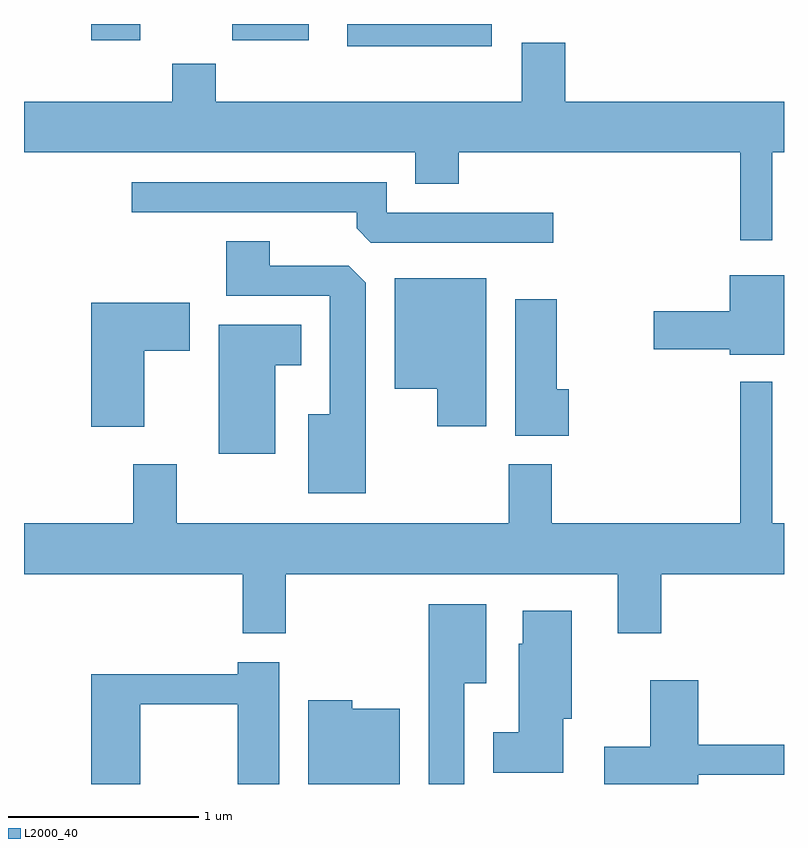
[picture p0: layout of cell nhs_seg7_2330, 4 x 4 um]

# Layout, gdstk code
import gdstk
lib = gdstk.Library(unit=1e-6, precision=1e-09)
def R(c, l, rs):  # rectangles x0, y0, x1, y1
    for r in rs: c.add(gdstk.rectangle(r[:2], r[2:], *l))
def P(c, l, *ps):  # polygons
    for p in ps: c.add(gdstk.Polygon(p, *l))
L2000_40 = (2000, 40)

nhs_seg7_2330 = lib.new_cell('nhs_seg7_2330')
R(nhs_seg7_2330, L2000_40, [(257.311,1788.136,258.074,1788.252), (255.966,1788.166,256.224,1788.252), (256.706,1788.166,257.109,1788.252)])
P(nhs_seg7_2330, L2000_40, [(259.549,1787.576),(259.611,1787.576),(259.611,1787.844),(258.459,1787.844),(258.459,1788.154),(258.231,1788.154),(258.231,1787.844),(256.619,1787.844),(256.619,1788.044),(256.391,1788.044),(256.391,1787.844),(255.611,1787.844),(255.611,1787.576),(257.671,1787.576),(257.671,1787.411),(257.899,1787.411),(257.899,1787.576),(259.381,1787.576),(259.381,1787.113),(259.549,1787.113)],
  [(258.397,1787.259),(257.519,1787.259),(257.519,1787.419),(256.178,1787.419),(256.178,1787.261),(257.361,1787.261),(257.361,1787.177),(257.437,1787.101),(258.397,1787.101)],
  [(257.409,1786.889),(257.319,1786.979),(256.904,1786.979),(256.904,1787.109),(256.676,1787.109),(256.676,1786.821),(257.221,1786.821),(257.221,1786.199),(257.106,1786.199),(257.106,1785.781),(257.409,1785.781)],
  [(259.611,1786.929),(259.326,1786.929),(259.326,1786.739),(258.926,1786.739),(258.926,1786.541),(259.326,1786.541),(259.326,1786.511),(259.611,1786.511)],
  [(258.044,1786.914),(257.561,1786.914),(257.561,1786.331),(257.786,1786.331),(257.786,1786.136),(258.044,1786.136)],
  [(258.479,1786.329),(258.414,1786.329),(258.414,1786.804),(258.196,1786.804),(258.196,1786.086),(258.479,1786.086)],
  [(256.244,1786.531),(256.484,1786.531),(256.484,1786.784),(255.966,1786.784),(255.966,1786.131),(256.244,1786.131)],
  [(256.934,1786.456),(257.069,1786.456),(257.069,1786.669),(256.636,1786.669),(256.636,1785.991),(256.934,1785.991)],
  [(258.736,1785.046),(258.964,1785.046),(258.964,1785.356),(259.611,1785.356),(259.611,1785.624),(259.549,1785.624),(259.549,1786.368),(259.381,1786.368),(259.381,1785.624),(258.389,1785.624),(258.389,1785.934),(258.161,1785.934),(258.161,1785.624),(256.414,1785.624),(256.414,1785.934),(256.186,1785.934),(256.186,1785.624),(255.611,1785.624),(255.611,1785.356),(256.761,1785.356),(256.761,1785.046),(256.989,1785.046),(256.989,1785.356),(258.736,1785.356)],
  [(257.929,1784.781),(258.044,1784.781),(258.044,1785.199),(257.741,1785.199),(257.741,1784.252),(257.929,1784.252)],
  [(258.449,1784.596),(258.494,1784.596),(258.494,1785.164),(258.236,1785.164),(258.236,1784.989),(258.216,1784.989),(258.216,1784.524),(258.081,1784.524),(258.081,1784.311),(258.449,1784.311)],
  [(256.224,1784.671),(256.736,1784.671),(256.736,1784.252),(256.954,1784.252),(256.954,1784.894),(256.736,1784.894),(256.736,1784.829),(255.966,1784.829),(255.966,1784.252),(256.224,1784.252)],
  [(259.159,1784.301),(259.611,1784.301),(259.611,1784.459),(259.159,1784.459),(259.159,1784.799),(258.906,1784.799),(258.906,1784.449),(258.666,1784.449),(258.666,1784.252),(259.159,1784.252)],
  [(257.589,1784.649),(257.339,1784.649),(257.339,1784.694),(257.106,1784.694),(257.106,1784.252),(257.589,1784.252)])

lib.write_gds('nhs_seg7_2330.gds')
